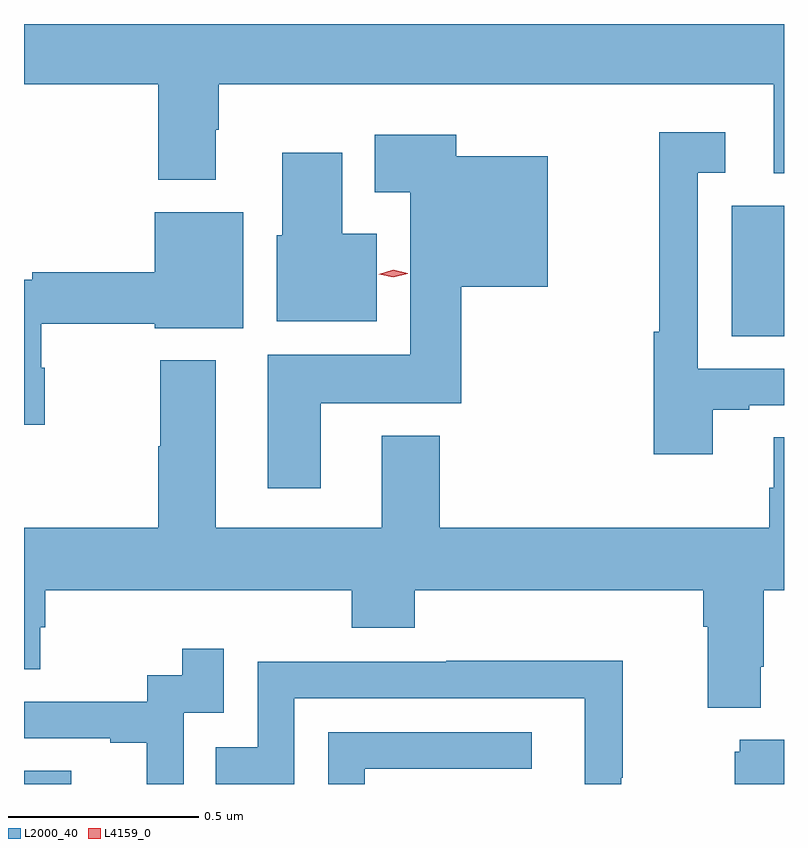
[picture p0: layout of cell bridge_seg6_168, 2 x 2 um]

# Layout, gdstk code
import gdstk
lib = gdstk.Library(unit=1e-6, precision=1e-09)
def R(c, l, rs):  # rectangles x0, y0, x1, y1
    for r in rs: c.add(gdstk.rectangle(r[:2], r[2:], *l))
def P(c, l, *ps):  # polygons
    for p in ps: c.add(gdstk.Polygon(p, *l))
L2000_40 = (2000, 40)
L4159_0 = (4159, 0)

bridge_seg6_168 = lib.new_cell('bridge_seg6_168')
R(bridge_seg6_168, L2000_40, [(550.848,985.454,550.972,985.489), (552.71,986.632,552.848,986.976)])
P(bridge_seg6_168, L2000_40, [(551.353,987.176),(551.361,987.176),(551.361,987.296),(552.821,987.296),(552.821,987.061),(552.848,987.061),(552.848,987.454),(550.848,987.454),(550.848,987.296),(551.201,987.296),(551.201,987.044),(551.353,987.044)],
  [(552.661,986.439),(552.757,986.439),(552.757,986.451),(552.848,986.451),(552.848,986.547),(552.621,986.547),(552.621,987.063),(552.694,987.063),(552.694,987.169),(552.52,987.169),(552.52,986.644),(552.505,986.644),(552.505,986.322),(552.661,986.322)],
  [(551.629,986.456),(551.999,986.456),(551.999,986.762),(552.226,986.762),(552.226,987.106),(551.986,987.106),(551.986,987.163),(551.771,987.163),(551.771,987.011),(551.864,987.011),(551.864,986.584),(551.489,986.584),(551.489,986.232),(551.629,986.232)],
  [(551.776,986.902),(551.686,986.902),(551.686,987.115),(551.528,987.115),(551.528,986.898),(551.513,986.898),(551.513,986.672),(551.776,986.672)],
  [(550.902,986.55),(550.894,986.55),(550.894,986.665),(551.192,986.665),(551.192,986.654),(551.425,986.654),(551.425,986.959),(551.192,986.959),(551.192,986.801),(550.87,986.801),(550.87,986.781),(550.848,986.781),(550.848,986.4),(550.902,986.4)],
  [(552.787,985.762),(552.795,985.762),(552.795,985.964),(552.848,985.964),(552.848,986.366),(552.821,986.366),(552.821,986.234),(552.809,986.234),(552.809,986.128),(551.942,986.128),(551.942,986.371),(551.789,986.371),(551.789,986.128),(551.353,986.128),(551.353,986.569),(551.206,986.569),(551.206,986.343),(551.201,986.343),(551.201,986.128),(550.848,986.128),(550.848,985.756),(550.891,985.756),(550.891,985.866),(550.904,985.866),(550.904,985.964),(551.711,985.964),(551.711,985.865),(551.876,985.865),(551.876,985.964),(552.635,985.964),(552.635,985.868),(552.647,985.868),(552.647,985.655),(552.787,985.655)],
  [(551.268,985.641),(551.373,985.641),(551.373,985.81),(551.265,985.81),(551.265,985.74),(551.172,985.74),(551.172,985.671),(550.848,985.671),(550.848,985.575),(551.075,985.575),(551.075,985.563),(551.171,985.563),(551.171,985.454),(551.268,985.454)],
  [(551.559,985.68),(552.323,985.68),(552.323,985.454),(552.42,985.454),(552.42,985.471),(552.423,985.471),(552.423,985.778),(551.959,985.778),(551.959,985.776),(551.463,985.776),(551.463,985.551),(551.353,985.551),(551.353,985.454),(551.559,985.454)],
  [(551.745,985.494),(552.184,985.494),(552.184,985.59),(551.649,985.59),(551.649,985.454),(551.745,985.454)],
  [(552.848,985.57),(552.731,985.57),(552.731,985.539),(552.719,985.539),(552.719,985.454),(552.848,985.454)])
P(bridge_seg6_168, L4159_0, [(551.82,986.787),(551.781,986.795),(551.781,986.796),(551.781,986.796),(551.82,986.807),(551.858,986.798),(551.858,986.798),(551.858,986.797)])

lib.write_gds('bridge_seg6_168.gds')
